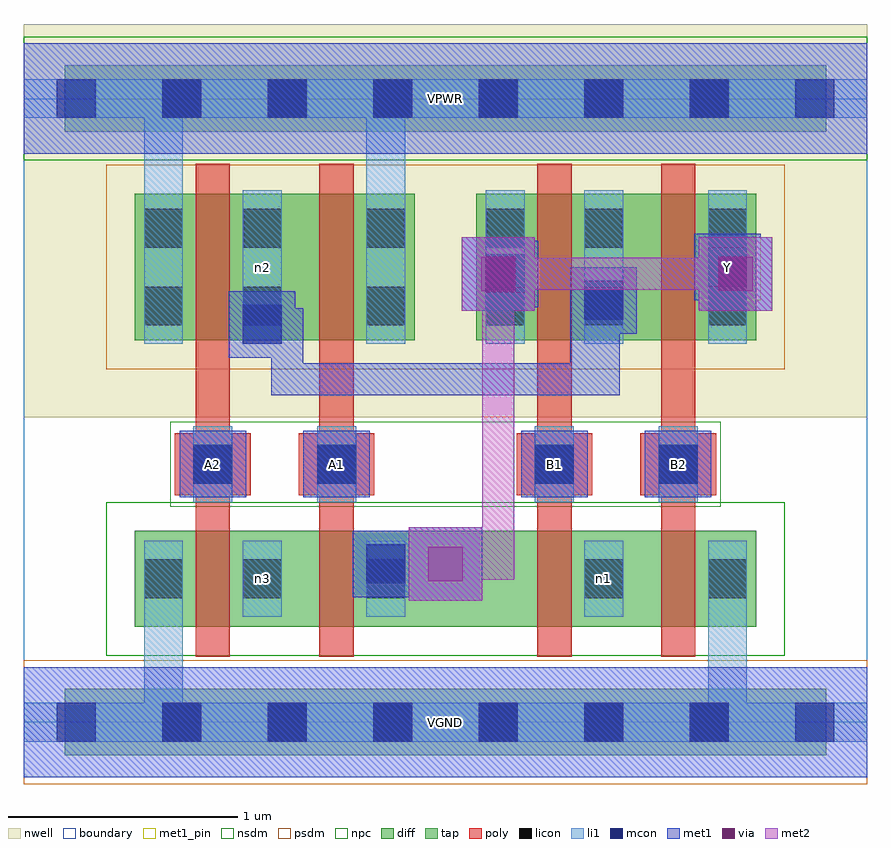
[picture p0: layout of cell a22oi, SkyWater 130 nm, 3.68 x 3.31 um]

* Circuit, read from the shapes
.subckt a22oi A1 A2 B1 B2 VGND VPWR Y n1 n2 n3
XM1 n3 A2 VGND VGND sky130_fd_pr__nfet_01v8 w=0.42 l=0.15
XM2 Y A1 n3 VGND sky130_fd_pr__nfet_01v8 w=0.42 l=0.15
XM3 n1 B1 Y VGND sky130_fd_pr__nfet_01v8 w=0.42 l=0.15
XM4 VGND B2 n1 VGND sky130_fd_pr__nfet_01v8 w=0.42 l=0.15
XM5 n2 A2 VPWR VPWR sky130_fd_pr__pfet_01v8 w=0.64 l=0.15
XM6 VPWR A1 n2 VPWR sky130_fd_pr__pfet_01v8 w=0.64 l=0.15
XM7 n2 B1 Y VPWR sky130_fd_pr__pfet_01v8 w=0.64 l=0.15
XM8 Y B2 n2 VPWR sky130_fd_pr__pfet_01v8 w=0.64 l=0.15
.ends

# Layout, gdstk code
import gdstk
lib = gdstk.Library(unit=1e-6, precision=1e-09)
def R(c, l, rs):  # rectangles x0, y0, x1, y1
    for r in rs: c.add(gdstk.rectangle(r[:2], r[2:], *l))
def A(c, l, x, y, w, h, nx, ny, dx, dy):  # array of equal rectangles
    R(c, l, [(x+i*dx, y+j*dy, x+i*dx+w, y+j*dy+h) for i in range(nx) for j in range(ny)])
nwell = (64, 20)
diff = (65, 20)
tap = (65, 44)
poly = (66, 20)
licon = (66, 44)
li1 = (67, 20)
mcon = (67, 44)
met1_pin = (68, 16)
met1 = (68, 20)
via = (68, 44)
met2 = (69, 20)
nsdm = (93, 44)
psdm = (94, 20)
npc = (95, 20)
boundary = (235, 4)

a22oi = lib.new_cell('a22oi')
R(a22oi, nwell, [(0,1.33,3.68,3.045)])
R(a22oi, diff, [(0.485,0.415,3.195,0.835), (0.485,1.665,1.705,2.305), (1.975,1.665,3.195,2.305)])
R(a22oi, tap, [(0.18,-0.145,3.5,0.145), (0.18,2.575,3.5,2.865)])
R(a22oi, poly, [(0.75,0.285,0.9,2.435), (1.29,0.285,1.44,2.435), (2.24,0.285,2.39,2.435), (2.78,0.285,2.93,2.435), (0.66,0.99,0.99,1.26), (1.2,0.99,1.53,1.26), (2.15,0.99,2.48,1.26), (2.69,0.99,3.02,1.26)])
A(a22oi, licon, 0.605, -0.085, 0.17, 0.17, 6, 2, 0.46, 2.72)
R(a22oi, licon, [(0.525,0.54,0.695,0.71), (0.955,0.54,1.125,0.71), (1.495,0.54,1.665,0.71), (2.445,0.54,2.615,0.71), (2.985,0.54,3.155,0.71), (0.74,1.04,0.91,1.21), (1.28,1.04,1.45,1.21), (2.23,1.04,2.4,1.21), (2.77,1.04,2.94,1.21), (0.525,1.73,0.695,1.9), (0.955,1.73,1.125,1.9), (1.495,1.73,1.665,1.9), (2.015,1.73,2.185,1.9), (2.445,1.73,2.615,1.9), (2.985,1.73,3.155,1.9), (0.525,2.07,0.695,2.24), (0.955,2.07,1.125,2.24), (1.495,2.07,1.665,2.24), (2.015,2.07,2.185,2.24), (2.445,2.07,2.615,2.24), (2.985,2.07,3.155,2.24)])
R(a22oi, li1, [(0,-0.085,3.68,0.085), (0.525,-0.085,0.695,0.79), (2.985,-0.085,3.155,0.79), (0.525,0.46,0.695,0.79), (0.955,0.46,1.125,0.79), (1.495,0.46,1.665,0.79), (2.445,0.46,2.615,0.79), (2.985,0.46,3.155,0.79), (0.74,0.96,0.91,1.29), (1.28,0.96,1.45,1.29), (2.23,0.96,2.4,1.29), (2.77,0.96,2.94,1.29), (0.525,1.65,0.695,2.32), (0.525,1.65,0.695,2.805), (0.955,1.65,1.125,2.32), (1.495,1.65,1.665,2.32), (1.495,1.65,1.665,2.805), (2.015,1.65,2.185,2.32), (2.445,1.65,2.615,2.32), (2.985,1.65,3.155,2.32), (0,2.635,3.68,2.805)])
A(a22oi, mcon, 0.145, -0.085, 0.17, 0.17, 8, 2, 0.46, 2.72)
R(a22oi, mcon, [(1.495,0.605,1.665,0.775), (0.74,1.04,0.91,1.21), (1.28,1.04,1.45,1.21), (2.23,1.04,2.4,1.21), (2.77,1.04,2.94,1.21), (0.955,1.65,1.125,1.82), (2.445,1.755,2.615,1.925), (2.015,1.87,2.185,2.04), (2.985,1.9,3.155,2.07)])
R(a22oi, met1_pin, [(0,-0.24,3.68,0.24), (0.68,0.98,0.97,1.27), (1.22,0.98,1.51,1.27), (2.17,0.98,2.46,1.27), (2.71,0.98,3,1.27), (2.925,1.84,3.215,2.13), (0,2.48,3.68,2.96)])
R(a22oi, met1, [(0,-0.24,3.68,0.24), (1.68,0.53,2,0.85), (1.435,0.545,1.725,0.835), (1.51,0.62,1.795,0.76), (1.655,0.62,1.91,0.76), (0.68,0.98,0.97,1.27), (1.22,0.98,1.51,1.27), (2.17,0.98,2.46,1.27), (2.71,0.98,3,1.27), (1.08,1.425,2.6,1.565), (1.08,1.425,1.22,1.68), (2.46,1.425,2.6,1.91), (1.08,1.54,1.22,1.805), (2.385,1.565,2.6,1.695), (0.895,1.59,1.185,1.88), (0.97,1.665,1.22,1.805), (2.385,1.695,2.675,1.985), (1.91,1.795,2.23,2.115), (2.945,1.795,3.265,2.115), (1.955,1.81,2.245,2.1), (2.925,1.84,3.215,2.13), (2,1.885,2.17,2.025), (3.035,1.885,3.175,2.025), (0,2.48,3.68,2.96)])
R(a22oi, via, [(1.765,0.615,1.915,0.765), (1.995,1.88,2.145,2.03), (3.03,1.88,3.18,2.03)])
R(a22oi, met2, [(1.68,0.53,2,0.85), (1.77,0.62,2.14,0.76), (2,0.62,2.14,2.025), (1.91,1.795,2.23,2.115), (2.945,1.795,3.265,2.115), (2,1.885,3.175,2.025)])
R(a22oi, nsdm, [(0.36,0.29,3.32,0.96), (0,2.45,3.68,2.99)])
R(a22oi, psdm, [(0,-0.27,3.68,0.27), (0.36,1.54,3.32,2.43)])
R(a22oi, npc, [(0.64,0.94,3.04,1.31)])
R(a22oi, boundary, [(0,0,3.68,2.72)])
a22oi.add(gdstk.Label('n3', (1.04,0.625), layer=67, texttype=5))
a22oi.add(gdstk.Label('n1', (2.53,0.625), layer=67, texttype=5))
a22oi.add(gdstk.Label('n2', (1.04,1.985), layer=67, texttype=5))
a22oi.add(gdstk.Label('A1', (1.365,1.125), layer=68, texttype=5))
a22oi.add(gdstk.Label('A2', (0.825,1.125), layer=68, texttype=5))
a22oi.add(gdstk.Label('B1', (2.315,1.125), layer=68, texttype=5))
a22oi.add(gdstk.Label('B2', (2.855,1.125), layer=68, texttype=5))
a22oi.add(gdstk.Label('Y', (3.07,1.985), layer=68, texttype=5))
a22oi.add(gdstk.Label('VPWR', (1.84,2.72), layer=68, texttype=5))
a22oi.add(gdstk.Label('VGND', (1.84,0), layer=68, texttype=5))
a22oi.add(gdstk.Label('A1', (1.365,1.125), layer=68, texttype=16))
a22oi.add(gdstk.Label('A2', (0.825,1.125), layer=68, texttype=16))
a22oi.add(gdstk.Label('B1', (2.315,1.125), layer=68, texttype=16))
a22oi.add(gdstk.Label('B2', (2.855,1.125), layer=68, texttype=16))
a22oi.add(gdstk.Label('Y', (3.07,1.985), layer=68, texttype=16))
a22oi.add(gdstk.Label('VPWR', (1.84,2.72), layer=68, texttype=16))
a22oi.add(gdstk.Label('VGND', (1.84,0), layer=68, texttype=16))

lib.write_gds('a22oi.gds')
